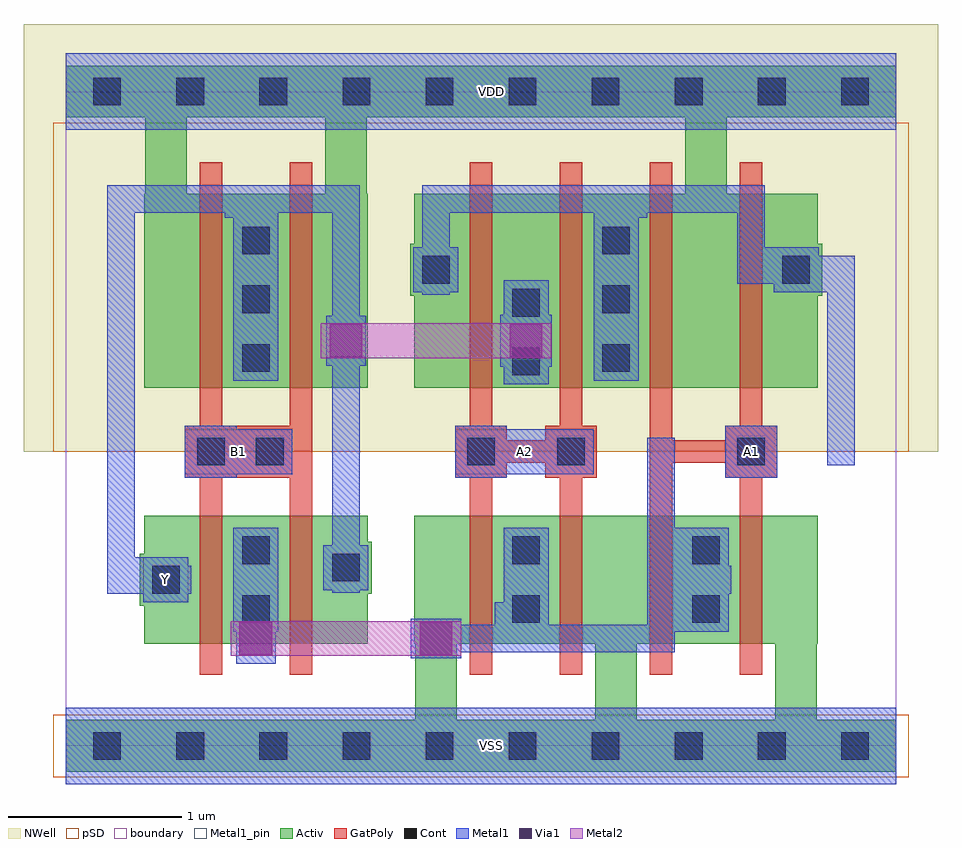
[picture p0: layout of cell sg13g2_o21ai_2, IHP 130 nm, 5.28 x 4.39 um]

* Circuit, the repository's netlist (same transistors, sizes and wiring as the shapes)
.SUBCKT sg13g2_o21ai_2 Y A1 A2 B1 VDD VSS
*.PININFO A1:I A2:I B1:I Y:O VDD:B VSS:B
MP0 net14 A1 VDD VDD sg13_lv_pmos w=2.24u l=130.00n ng=2
MP1 Y A2 net14 VDD sg13_lv_pmos w=2.24u l=130.00n ng=2
MP2 Y B1 VDD VDD sg13_lv_pmos w=2.24u l=130.00n ng=2
MN0 net1 A2 VSS VSS sg13_lv_nmos w=1.48u l=130.00n ng=2
MN2 net1 A1 VSS VSS sg13_lv_nmos w=1.48u l=130.00n ng=2
MN1 Y B1 net1 VSS sg13_lv_nmos w=1.48u l=130.00n ng=2
.ENDS

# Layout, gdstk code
import gdstk
lib = gdstk.Library(unit=1e-6, precision=1e-09)
def R(c, l, rs):  # rectangles x0, y0, x1, y1
    for r in rs: c.add(gdstk.rectangle(r[:2], r[2:], *l))
def A(c, l, x, y, w, h, nx, ny, dx, dy):  # array of equal rectangles
    R(c, l, [(x+i*dx, y+j*dy, x+i*dx+w, y+j*dy+h) for i in range(nx) for j in range(ny)])
def P(c, l, *ps):  # polygons
    for p in ps: c.add(gdstk.Polygon(p, *l))
Activ = (1, 0)
GatPoly = (5, 0)
Cont = (6, 0)
Metal1 = (8, 0)
Metal1_pin = (8, 2)
Metal2 = (10, 0)
pSD = (14, 0)
Via1 = (19, 0)
NWell = (31, 0)
boundary = (189, 4)

sg13g2_o21ai_2 = lib.new_cell('sg13g2_o21ai_2')
P(sg13g2_o21ai_2, Activ, [(2.02,0.15),(0,0.15),(0,-0.15),(4.8,-0.15),(4.8,0.15),(2.02,0.15),(2.26,0.15),(2.26,0.59),(3.06,0.59),(3.06,0.15),(3.3,0.15),(3.3,0.59),(4.1,0.59),(4.1,0.15),(4.34,0.15),(4.34,0.59),(4.345,0.59),(4.345,1.33),(2.015,1.33),(2.015,0.59),(2.02,0.59)],
  [(0.7,3.63),(0.7,3.93),(0,3.93),(0,3.63),(0.46,3.63),(0.46,3.19),(0.455,3.19),(0.455,2.07),(0.7,2.07),(0.7,3.63),(1.5,3.63),(1.5,3.19),(0.7,3.19),(0.7,2.07),(1.745,2.07),(1.745,3.19),(1.74,3.19),(1.74,3.63),(3.58,3.63),(3.58,3.19),(2.015,3.19),(2.015,2.9),(1.99,2.9),(1.99,2.6),(2.015,2.6),(2.015,2.07),(4.345,2.07),(4.345,2.6),(4.37,2.6),(4.37,2.9),(4.345,2.9),(4.345,3.19),(3.82,3.19),(3.82,3.63),(4.8,3.63),(4.8,3.93),(0.7,3.93)],
  [(0.43,0.81),(0.455,0.81),(0.455,0.59),(1.745,0.59),(1.745,0.88),(1.77,0.88),(1.77,1.18),(1.745,1.18),(1.745,1.33),(0.455,1.33),(0.455,1.11),(0.43,1.11)])
P(sg13g2_o21ai_2, GatPoly, [(0.69,1.55),(0.775,1.55),(0.775,0.41),(0.905,0.41),(0.905,1.55),(1.295,1.55),(1.295,0.41),(1.425,0.41),(1.425,3.37),(1.295,3.37),(1.295,1.85),(0.905,1.85),(0.905,3.37),(0.775,3.37),(0.775,1.85),(0.69,1.85)],
  [(2.25,1.55),(2.335,1.55),(2.335,0.41),(2.465,0.41),(2.465,1.55),(2.55,1.55),(2.55,1.635),(2.77,1.635),(2.77,1.55),(2.855,1.55),(2.855,0.41),(2.985,0.41),(2.985,1.55),(3.07,1.55),(3.07,1.85),(2.985,1.85),(2.985,3.37),(2.855,3.37),(2.855,1.85),(2.77,1.85),(2.77,1.765),(2.55,1.765),(2.55,1.85),(2.465,1.85),(2.465,3.37),(2.335,3.37),(2.335,1.85),(2.25,1.85)],
  [(3.375,0.41),(3.505,0.41),(3.505,1.635),(3.81,1.635),(3.81,1.55),(3.895,1.55),(3.895,0.41),(4.025,0.41),(4.025,1.55),(4.11,1.55),(4.11,1.85),(4.025,1.85),(4.025,3.37),(3.895,3.37),(3.895,1.85),(3.81,1.85),(3.81,1.765),(3.505,1.765),(3.505,3.37),(3.375,3.37)])
A(sg13g2_o21ai_2, Cont, 0.16, -0.08, 0.16, 0.16, 10, 2, 0.48, 3.78)
A(sg13g2_o21ai_2, Cont, 1.02, 2.16, 0.16, 0.16, 1, 3, 0, 0.34)
A(sg13g2_o21ai_2, Cont, 3.1, 2.16, 0.16, 0.16, 1, 3, 0, 0.34)
R(sg13g2_o21ai_2, Cont, [(1.02,0.71,1.18,0.87), (2.58,0.71,2.74,0.87), (3.62,0.71,3.78,0.87), (0.5,0.88,0.66,1.04), (1.54,0.95,1.7,1.11), (1.02,1.05,1.18,1.21), (2.58,1.05,2.74,1.21), (3.62,1.05,3.78,1.21), (0.76,1.62,0.92,1.78), (1.1,1.62,1.26,1.78), (2.32,1.62,2.48,1.78), (2.84,1.62,3,1.78), (3.88,1.62,4.04,1.78), (2.58,2.14,2.74,2.3), (2.58,2.48,2.74,2.64), (2.06,2.67,2.22,2.83), (4.14,2.67,4.3,2.83)])
R(sg13g2_o21ai_2, Metal1, [(0,-0.22,4.8,0.22), (3.81,1.55,4.11,1.85), (0,3.56,4.8,4)])
P(sg13g2_o21ai_2, Metal1, [(0.24,0.88),(0.45,0.88),(0.45,0.83),(0.71,0.83),(0.71,0.88),(0.725,0.88),(0.725,1.04),(0.71,1.04),(0.71,1.09),(0.4,1.09),(0.4,3.08),(0.92,3.08),(0.92,3.05),(0.97,3.05),(0.97,2.11),(1.23,2.11),(1.23,3.08),(1.54,3.08),(1.54,2.485),(1.505,2.485),(1.505,2.195),(1.54,2.195),(1.54,1.16),(1.49,1.16),(1.49,0.9),(1.54,0.9),(1.54,0.885),(1.7,0.885),(1.7,0.9),(1.75,0.9),(1.75,1.16),(1.7,1.16),(1.7,2.195),(1.735,2.195),(1.735,2.485),(1.7,2.485),(1.7,3.24),(0.24,3.24)],
  [(0.69,1.55),(0.99,1.55),(0.99,1.57),(1.31,1.57),(1.31,1.83),(0.99,1.83),(0.99,1.85),(0.69,1.85)],
  [(0.97,0.66),(0.985,0.66),(0.985,0.475),(1.215,0.475),(1.215,0.66),(1.23,0.66),(1.23,1.26),(0.97,1.26)],
  [(1.995,0.505),(2.285,0.505),(2.285,0.54),(3.52,0.54),(3.52,0.66),(3.83,0.66),(3.83,0.88),(3.845,0.88),(3.845,1.04),(3.83,1.04),(3.83,1.26),(3.52,1.26),(3.52,1.78),(3.36,1.78),(3.36,0.7),(2.79,0.7),(2.79,1.26),(2.53,1.26),(2.53,0.83),(2.48,0.83),(2.48,0.7),(2.285,0.7),(2.285,0.735),(1.995,0.735)],
  [(2.01,2.62),(2.06,2.62),(2.06,2.605),(2.22,2.605),(2.22,2.62),(2.27,2.62),(2.27,2.88),(2.22,2.88),(2.22,3.08),(3.05,3.08),(3.05,2.11),(3.31,2.11),(3.31,3.05),(3.36,3.05),(3.36,3.08),(3.88,3.08),(3.88,2.67),(4.09,2.67),(4.09,2.62),(4.4,2.62),(4.4,1.62),(4.56,1.62),(4.56,2.83),(4.35,2.83),(4.35,2.88),(4.04,2.88),(4.04,3.24),(2.06,3.24),(2.06,2.88),(2.01,2.88)],
  [(2.25,1.55),(2.55,1.55),(2.55,1.57),(3.05,1.57),(3.05,1.83),(2.55,1.83),(2.55,1.85),(2.25,1.85)],
  [(2.51,2.19),(2.53,2.19),(2.53,2.09),(2.79,2.09),(2.79,2.19),(2.81,2.19),(2.81,2.49),(2.79,2.49),(2.79,2.69),(2.53,2.69),(2.53,2.49),(2.51,2.49)])
R(sg13g2_o21ai_2, Metal1_pin, [(0,-0.22,4.8,0.22), (0.45,0.83,0.71,1.09), (3.81,1.55,4.11,1.85), (0.69,1.57,1.31,1.83), (2.25,1.57,3.05,1.83), (0,3.56,4.8,4)])
R(sg13g2_o21ai_2, Metal2, [(0.955,0.52,2.285,0.72), (1.475,2.24,2.805,2.44)])
R(sg13g2_o21ai_2, pSD, [(-0.07,-0.18,4.87,0.18), (-0.07,1.7,4.87,3.6)])
R(sg13g2_o21ai_2, Via1, [(1.005,0.525,1.195,0.715), (2.045,0.525,2.235,0.715), (1.525,2.245,1.715,2.435), (2.565,2.245,2.755,2.435)])
R(sg13g2_o21ai_2, NWell, [(-0.24,1.7,5.04,4.17)])
R(sg13g2_o21ai_2, boundary, [(0,0,4.8,3.78)])
sg13g2_o21ai_2.add(gdstk.Label('Y', (0.58,0.96), layer=8, texttype=25))
sg13g2_o21ai_2.add(gdstk.Label('B1', (1,1.7), layer=8, texttype=25))
sg13g2_o21ai_2.add(gdstk.Label('A2', (2.65,1.7), layer=8, texttype=25))
sg13g2_o21ai_2.add(gdstk.Label('A1', (3.96,1.7), layer=8, texttype=25))
sg13g2_o21ai_2.add(gdstk.Label('VSS', (2.46,0), layer=8, texttype=25))
sg13g2_o21ai_2.add(gdstk.Label('VDD', (2.46,3.78), layer=8, texttype=25))

lib.write_gds('sg13g2_o21ai_2.gds')
